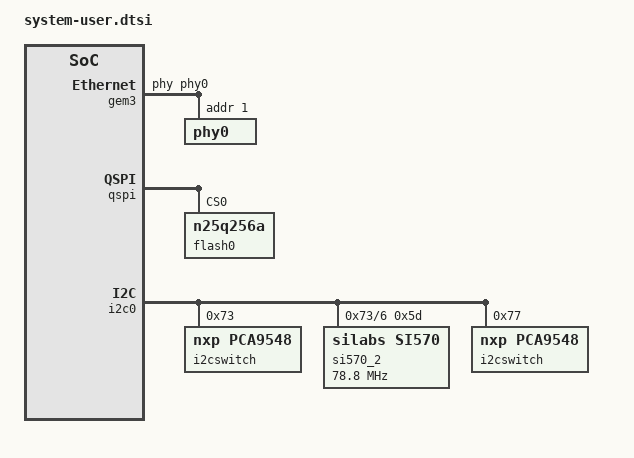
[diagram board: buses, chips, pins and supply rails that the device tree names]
/include/ "system-conf.dtsi"
/ {
};

&gem3 {
	phy-handle = <&phy0>;
	phy0: phy0@1 {
		device_type = "ethernet-phy";
		reg = <1>;
	};
};

&qspi {
    #address-cells = <1>;
    #size-cells = <0>;
    status = "okay";
    flash0: flash@0 {
        compatible = "n25q256a";
        reg = <0x0>;
        #address-cells = <1>;
        #size-cells = <1>;
    };
};

&i2c0 {
    i2cswitch@73 { // u
        compatible = "nxp,pca9548";
        #address-cells = <1>;
        #size-cells = <0>;
        reg = <0x73>;
        i2c-mux-idle-disconnect;

        i2c@2 { // PCIe
            #address-cells = <1>;
            #size-cells = <0>;
            reg = <2>;
        };
        i2c@3 { // i2c SFP
            #address-cells = <1>;
            #size-cells = <0>;
            reg = <3>;
        };
        i2c@4 { // i2c SFP
            #address-cells = <1>;
            #size-cells = <0>;
            reg = <4>;
        };
        i2c@5 { // i2c EEPROM
            #address-cells = <1>;
            #size-cells = <0>;
            reg = <5>;
        };
        i2c@6 { // i2c FMC
            #address-cells = <1>;
            #size-cells = <0>;
            reg = <6>;

            si570_2: clock-generator3@5d {
                #clock-cells = <0>;
                compatible = "silabs,si570";
                reg = <0x5d>;
                temperature-stability = <50>;
                factory-fout = <156250000>;
                clock-frequency = <78800000>;
            };
        };
        i2c@7 { // i2c USB HUB
            #address-cells = <1>;
            #size-cells = <0>;
            reg = <7>;
        };
    };
    i2cswitch@77 { // u
        compatible = "nxp,pca9548";
        #address-cells = <1>;
        #size-cells = <0>;
        reg = <0x77>;
        i2c-mux-idle-disconnect;
        i2c@0 { // i2c PMOD
            #address-cells = <1>;
            #size-cells = <0>;
            reg = <0>;
        };
        i2c@1 { // i2c Audio Codec
            #address-cells = <1>;
            #size-cells = <0>;
            reg = <1>;
			/*
            adau1761: adau1761@38 {
                compatible = "adi,adau1761";
                reg = <0x38>;
            };
			*/
        };
        i2c@2 { // i2c FireFly A
            #address-cells = <1>;
            #size-cells = <0>;
            reg = <2>;
        };
        i2c@3 { // i2c FireFly B
            #address-cells = <1>;
            #size-cells = <0>;
            reg = <3>;
        };
        i2c@4 { // i2c PLL
            #address-cells = <1>;
            #size-cells = <0>;
            reg = <4>;
        };
        i2c@5 { // i2c SC
            #address-cells = <1>;
            #size-cells = <0>;
            reg = <5>;
        };
        i2c@6 { // i2c
            #address-cells = <1>;
            #size-cells = <0>;
            reg = <6>;
        };
        i2c@7 { // i2c
            #address-cells = <1>;
            #size-cells = <0>;
            reg = <7>;
        };
    };
};

&lpd_dma_chan1 {
    status = "disabled";
};
&lpd_dma_chan2 {
    status = "disabled";
};
&lpd_dma_chan3 {
    status = "disabled";
};
&lpd_dma_chan4 {
    status = "disabled";
};
&lpd_dma_chan5 {
    status = "disabled";
};
&lpd_dma_chan6 {
    status = "disabled";
};
&lpd_dma_chan7 {
    status = "disabled";
};
&lpd_dma_chan8 {
    status = "disabled";
};

